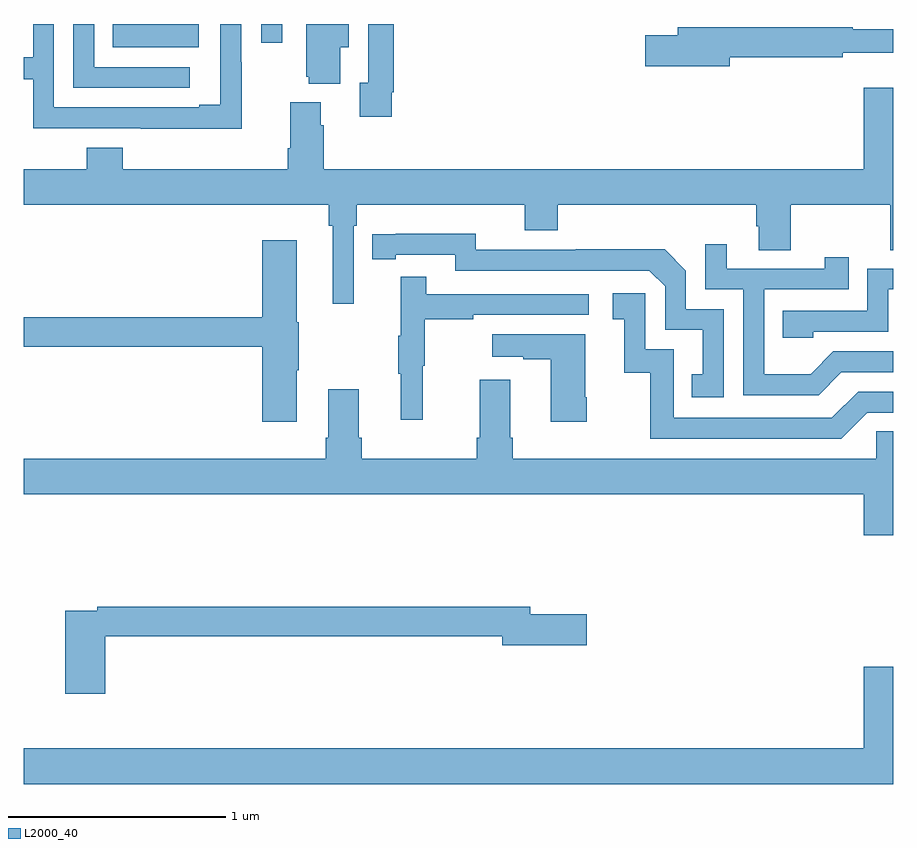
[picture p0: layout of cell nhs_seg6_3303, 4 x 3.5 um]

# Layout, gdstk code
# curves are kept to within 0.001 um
import gdstk
lib = gdstk.Library(unit=1e-6, precision=1e-09)
def R(c, l, rs):  # rectangles x0, y0, x1, y1
    for r in rs: c.add(gdstk.rectangle(r[:2], r[2:], *l))
def P(c, l, *ps):  # polygons
    for p in ps: c.add(gdstk.Polygon(p, *l))
L2000_40 = (2000, 40)

nhs_seg6_3303 = lib.new_cell('nhs_seg6_3303')
R(nhs_seg6_3303, L2000_40, [(306.093,949.413,306.189,949.5)])
P(nhs_seg6_3303, L2000_40, [(306.003,949.325),(306,949.325),(306,949.5),(305.904,949.5),(305.904,949.129),(305.807,949.129),(305.807,949.116),(305.139,949.116),(305.139,949.5),(305.043,949.5),(305.043,949.346),(305,949.346),(305,949.245),(305.043,949.245),(305.043,949.02),(305.539,949.02),(305.539,949.019),(306.003,949.019)],
  [(306.694,949.186),(306.701,949.186),(306.701,949.5),(306.585,949.5),(306.585,949.23),(306.545,949.23),(306.545,949.074),(306.694,949.074)],
  [(306.457,949.394),(306.496,949.394),(306.496,949.5),(306.299,949.5),(306.299,949.257),(306.311,949.257),(306.311,949.226),(306.457,949.226)],
  [(305.764,949.302),(305.325,949.302),(305.325,949.5),(305.229,949.5),(305.229,949.206),(305.764,949.206)],
  [(305.806,949.5),(305.641,949.5),(305.641,949.498),(305.41,949.498),(305.41,949.394),(305.806,949.394)],
  [(308.248,949.348),(308.768,949.348),(308.768,949.367),(309,949.367),(309,949.477),(308.813,949.477),(308.813,949.484),(308.009,949.484),(308.009,949.448),(307.86,949.448),(307.86,949.306),(308.248,949.306)],
  [(306.519,948.572),(306.533,948.572),(306.533,948.668),(307.304,948.668),(307.304,948.551),(307.457,948.551),(307.457,948.668),(308.369,948.668),(308.369,948.57),(308.381,948.57),(308.381,948.46),(308.529,948.46),(308.529,948.668),(308.986,948.668),(308.986,948.46),(309,948.46),(309,949.207),(308.864,949.207),(308.864,948.832),(306.38,948.832),(306.38,949.034),(306.367,949.034),(306.367,949.141),(306.227,949.141),(306.227,948.928),(306.215,948.928),(306.215,948.832),(305.456,948.832),(305.456,948.931),(305.291,948.931),(305.291,948.832),(305,948.832),(305,948.668),(306.403,948.668),(306.403,948.572),(306.422,948.572),(306.422,948.213),(306.519,948.213)],
  [(308.22,948.189),(308.046,948.189),(308.046,948.366),(307.948,948.464),(307.54,948.464),(307.54,948.462),(307.08,948.462),(307.08,948.535),(306.604,948.534),(306.604,948.418),(306.712,948.418),(306.712,948.438),(306.984,948.438),(306.984,948.366),(307.878,948.366),(307.95,948.294),(307.95,948.093),(308.123,948.093),(308.123,947.889),(308.074,947.889),(308.074,947.784),(308.22,947.784)],
  [(306.256,947.908),(306.264,947.908),(306.264,948.129),(306.256,948.129),(306.256,948.505),(306.098,948.505),(306.098,948.152),(305,948.152),(305,948.016),(306.098,948.016),(306.098,947.67),(306.256,947.67)],
  [(308.761,947.898),(309,947.898),(309,947.994),(308.724,947.994),(308.62,947.89),(308.406,947.89),(308.406,948.279),(308.795,948.279),(308.795,948.427),(308.684,948.427),(308.684,948.375),(308.233,948.375),(308.233,948.487),(308.136,948.487),(308.136,948.279),(308.31,948.279),(308.31,947.793),(308.656,947.793)],
  [(308.631,948.084),(308.976,948.084),(308.976,948.279),(309,948.279),(309,948.375),(308.88,948.375),(308.88,948.18),(308.491,948.18),(308.491,948.057),(308.631,948.057)],
  [(306.836,947.928),(306.844,947.928),(306.844,948.142),(307.067,948.142),(307.067,948.162),(307.6,948.162),(307.6,948.258),(306.851,948.258),(306.851,948.337),(306.734,948.337),(306.734,948.065),(306.723,948.065),(306.723,947.891),(306.734,947.891),(306.734,947.679),(306.836,947.679)],
  [(308.88,947.712),(309,947.712),(309,947.808),(308.838,947.808),(308.718,947.688),(307.989,947.688),(307.989,948.003),(307.86,948.003),(307.86,948.262),(307.71,948.262),(307.71,948.141),(307.763,948.141),(307.763,947.895),(307.881,947.895),(307.881,947.592),(308.76,947.592)],
  [(307.59,947.782),(307.582,947.782),(307.582,948.073),(307.155,948.073),(307.155,947.969),(307.298,947.969),(307.298,947.959),(307.424,947.959),(307.424,947.67),(307.59,947.67)],
  [(309,947.627),(308.922,947.627),(308.922,947.5),(307.25,947.5),(307.25,947.596),(307.237,947.596),(307.237,947.863),(307.097,947.863),(307.097,947.596),(307.085,947.596),(307.085,947.5),(306.554,947.5),(306.554,947.596),(306.541,947.596),(306.541,947.821),(306.401,947.821),(306.401,947.596),(306.389,947.596),(306.389,947.5),(305,947.5),(305,947.336),(308.864,947.336),(308.864,947.148),(309,947.148)],
  [(305.375,946.684),(307.202,946.684),(307.202,946.642),(307.591,946.642),(307.591,946.784),(307.33,946.784),(307.33,946.82),(305.338,946.82),(305.338,946.8),(305.192,946.8),(305.192,946.419),(305.375,946.419)],
  [(309,946.543),(308.864,946.543),(308.864,946.168),(305,946.168),(305,946.004),(309,946.004)])

lib.write_gds('nhs_seg6_3303.gds')
